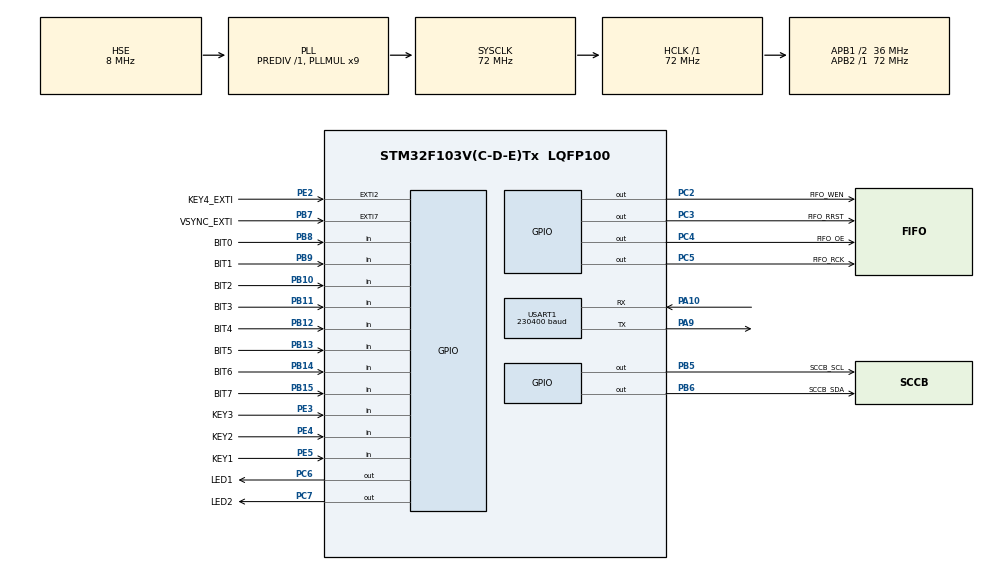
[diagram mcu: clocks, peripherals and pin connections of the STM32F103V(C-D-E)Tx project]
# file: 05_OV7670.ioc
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Mcu.Family=STM32F1
Mcu.Name=STM32F103V(C-D-E)Tx
Mcu.Package=LQFP100
NVIC.EXTI2_IRQn=true\:2\:0\:true\:false\:true\:true
NVIC.EXTI9_5_IRQn=true\:1\:0\:true\:false\:true\:true
NVIC.PriorityGroup=NVIC_PRIORITYGROUP_4
OSC_IN.Mode=HSE-External-Oscillator
OSC_IN.Signal=RCC_OSC_IN
OSC_OUT.Mode=HSE-External-Oscillator
OSC_OUT.Signal=RCC_OSC_OUT
PA10.Mode=Asynchronous
PA10.Signal=USART1_RX
PA9.Mode=Asynchronous
PA9.Signal=USART1_TX
PB10.GPIO_Label=BIT2
PB10.Signal=GPIO_Input
PB11.GPIO_Label=BIT3
PB11.Signal=GPIO_Input
PB12.GPIO_Label=BIT4
PB12.Signal=GPIO_Input
PB13.GPIO_Label=BIT5
PB13.Signal=GPIO_Input
PB14.GPIO_Label=BIT6
PB14.Signal=GPIO_Input
PB15.GPIO_Label=BIT7
PB15.Signal=GPIO_Input
PB5.GPIO_Label=SCCB_SCL
PB5.GPIO_PuPd=GPIO_PULLUP
PB5.GPIO_Speed=GPIO_SPEED_FREQ_HIGH
PB5.PinState=GPIO_PIN_SET
PB5.Signal=GPIO_Output
PB6.GPIO_Label=SCCB_SDA
PB6.GPIO_PuPd=GPIO_PULLUP
PB6.GPIO_Speed=GPIO_SPEED_FREQ_HIGH
PB6.PinState=GPIO_PIN_SET
PB6.Signal=GPIO_Output
PB7.GPIO_Label=VSYNC_EXTI
PB7.GPIO_ModeDefaultEXTI=GPIO_MODE_IT_FALLING
PB7.Signal=GPXTI7
PB8.GPIO_Label=BIT0
PB8.Signal=GPIO_Input
PB9.GPIO_Label=BIT1
PB9.Signal=GPIO_Input
PC2.GPIO_Label=FIFO_WEN
PC2.GPIO_Speed=GPIO_SPEED_FREQ_HIGH
PC2.Signal=GPIO_Output
PC3.GPIO_Label=FIFO_RRST
PC3.GPIO_Speed=GPIO_SPEED_FREQ_HIGH
PC3.Signal=GPIO_Output
PC4.GPIO_Label=FIFO_OE
PC4.GPIO_Speed=GPIO_SPEED_FREQ_HIGH
PC4.Signal=GPIO_Output
PC5.GPIO_Label=FIFO_RCK
PC5.GPIO_Speed=GPIO_SPEED_FREQ_HIGH
PC5.Signal=GPIO_Output
PC6.GPIO_Label=LED1
PC6.GPIO_Speed=GPIO_SPEED_FREQ_HIGH
PC6.Signal=GPIO_Output
PC7.GPIO_Label=LED2
PC7.GPIO_ModeDefaultOutputPP=GPIO_MODE_OUTPUT_PP
PC7.GPIO_Speed=GPIO_SPEED_FREQ_HIGH
PC7.Signal=GPIO_Output
PE2.GPIO_Label=KEY4_EXTI
PE2.GPIO_ModeDefaultEXTI=GPIO_MODE_IT_FALLING
PE2.Signal=GPXTI2
PE3.GPIO_Label=KEY3
PE3.Signal=GPIO_Input
PE4.GPIO_Label=KEY2
PE4.Signal=GPIO_Input
PE5.GPIO_Label=KEY1
PE5.Signal=GPIO_Input
ProjectManager.HeapSize=0x200
ProjectManager.StackSize=0x400
ProjectManager.TargetToolchain=SW4STM32
RCC.AHBFreq_Value=72000000
RCC.APB1CLKDivider=RCC_HCLK_DIV2
RCC.APB1Freq_Value=36000000
RCC.APB1TimFreq_Value=72000000
RCC.APB2Freq_Value=72000000
RCC.APB2TimFreq_Value=72000000
RCC.HCLKFreq_Value=72000000
RCC.PLLMUL=RCC_PLL_MUL9
RCC.PLLSourceVirtual=RCC_PLLSOURCE_HSE
RCC.SYSCLKFreq_VALUE=72000000
RCC.SYSCLKSource=RCC_SYSCLKSOURCE_PLLCLK
RCC.USBFreq_Value=72000000
USART1.BaudRate=230400
USART1.VirtualMode=VM_ASYNC
VP_SYS_VS_ND.Mode=No_Debug
board=custom

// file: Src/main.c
/* USER CODE BEGIN Header */
/**
  ******************************************************************************
  * @file           : main.c
  * @brief          : Main program body
  ******************************************************************************
  ** This notice applies to any and all portions of this file
  * that are not between comment pairs USER CODE BEGIN and
  * USER CODE END. Other portions of this file, whether
  * inserted by the user or by software development tools
  * are owned by their respective copyright owners.
  *
  * COPYRIGHT(c) 2018 STMicroelectronics
  *
  * Redistribution and use in source and binary forms, with or without modification,
  * are permitted provided that the following conditions are met:
  *   1. Redistributions of source code must retain the above copyright notice,
  *      this list of conditions and the following disclaimer.
  *   2. Redistributions in binary form must reproduce the above copyright notice,
  *      this list of conditions and the following disclaimer in the documentation
  *      and/or other materials provided with the distribution.
  *   3. Neither the name of STMicroelectronics nor the names of its contributors
  *      may be used to endorse or promote products derived from this software
  *      without specific prior written permission.
  *
  * THIS SOFTWARE IS PROVIDED BY THE COPYRIGHT HOLDERS AND CONTRIBUTORS "AS IS"
  * AND ANY EXPRESS OR IMPLIED WARRANTIES, INCLUDING, BUT NOT LIMITED TO, THE
  * IMPLIED WARRANTIES OF MERCHANTABILITY AND FITNESS FOR A PARTICULAR PURPOSE ARE
  * DISCLAIMED. IN NO EVENT SHALL THE COPYRIGHT HOLDER OR CONTRIBUTORS BE LIABLE
  * FOR ANY DIRECT, INDIRECT, INCIDENTAL, SPECIAL, EXEMPLARY, OR CONSEQUENTIAL
  * DAMAGES (INCLUDING, BUT NOT LIMITED TO, PROCUREMENT OF SUBSTITUTE GOODS OR
  * SERVICES;LOSS OF USE, DATA, OR PROFITS;OR BUSINESS INTERRUPTION) HOWEVER
  * CAUSED AND ON ANY THEORY OF LIABILITY, WHETHER IN CONTRACT, STRICT LIABILITY,
  * OR TORT (INCLUDING NEGLIGENCE OR OTHERWISE) ARISING IN ANY WAY OUT OF THE USE
  * OF THIS SOFTWARE, EVEN IF ADVISED OF THE POSSIBILITY OF SUCH DAMAGE.
  *
  ******************************************************************************
  */
/* USER CODE END Header */

#include "main.h"
#include "usart.h"
#include "gpio.h"

/* USER CODE BEGIN Includes */
#include "sensor.h"
#include "delay.h"
#include <string.h>
/* USER CODE END Includes */

/* USER CODE BEGIN PD */
//#define DEBUG
/* USER CODE END PD */

/* USER CODE BEGIN PV */
extern unsigned int Vsync;
unsigned int a, b, c_data;
char str[]="0x0000";
int i;
/* USER CODE END PV */

void SystemClock_Config(void);
/* USER CODE BEGIN PFP */

void OV7670_SendOneFrame(void)
{
  for(a=0; a<240; a++)  // 240 rows
  {
    for(b=0; b<320; b++)  // 320 columns
    {
      FIFO_RCK_L();
      asm("NOP");asm("NOP");
      c_data=GPIOB->IDR&0xff00;  // read high-8 bits of 1 byte
      FIFO_RCK_H();
      asm("NOP");asm("NOP");
      FIFO_RCK_L();
      asm("NOP");asm("NOP");
      c_data|=(GPIOB->IDR>>8)&0x00ff;  // read low-8 bits of 1 byte
      FIFO_RCK_H();
      // LCD_WriteRAM(c_data);  // write RGB565 data to TFT GRAM
      i = sprintf(str, "%x", c_data);
      HAL_UART_Transmit(&huart1, (uint8_t *)str, strlen(str), 10);
      HAL_UART_Transmit(&huart1, (uint8_t *)",", strlen(","), 10);
    }
    HAL_GPIO_TogglePin(LED2_GPIO_Port, LED2_Pin);
  }
}
/* USER CODE END PFP */

int main(void)
{

  /* MCU Configuration--------------------------------------------------------*/

  /* Reset of all peripherals, Initializes the Flash interface and the Systick. */
  HAL_Init();

  /* Configure the system clock */
  SystemClock_Config();

  /* Initialize all configured peripherals */
  MX_GPIO_Init();
  MX_USART1_UART_Init();
  /* USER CODE BEGIN 2 */
  HAL_UART_Transmit(&huart1, (uint8_t *)"CMOS ", strlen("CMOS "), 10);
  HAL_UART_Transmit(&huart1, (uint8_t *)"Sensor ", strlen("Sensor "), 10);
  HAL_UART_Transmit(&huart1, (uint8_t *)"Init...", strlen("Init..."), 10);

  FIFO_OE_L();
  FIFO_WEN_H();

  while(1!=Sensor_init()){}  // Init CMOS Sensor
  HAL_UART_Transmit(&huart1, (uint8_t *)"Init OK", strlen("Init OK"), 10);
  Vsync=0;
  ////////////////////////////////////////
  FIFO_RRST_L();
  FIFO_RCK_L();
  FIFO_RCK_H();
  FIFO_RCK_L();
  FIFO_RRST_H();
  FIFO_RCK_H();
  Delay(50);
  ////////////////////////////////////////
  /* USER CODE END 2 */

  /* Infinite loop */
  while (1)
  {
    /* USER CODE BEGIN 3 */
    if(!HAL_GPIO_ReadPin(GPIOE, KEY1_Pin))  // 0
    {
      HAL_Delay(10);
      if(HAL_GPIO_ReadPin(GPIOE, KEY1_Pin))  // 1
      {
	#ifdef DEBUG
	  OV7670_SendOneFrame_ColorBar();
	  HAL_UART_Transmit(&huart1, (uint8_t *)"\r", strlen("\r"), 10);
	#else
	  if(Vsync==2)
	  {
	    FIFO_RRST_L();
	    FIFO_RCK_L();
	    FIFO_RCK_H();
	    FIFO_RCK_L();
	    FIFO_RRST_H();
	    FIFO_RCK_H();

	    OV7670_SendOneFrame();
	    HAL_UART_Transmit(&huart1, (uint8_t *)"\r", strlen("\r"), 10);
	    Vsync=0;
          }
	#endif
      }
    }
  }
  /* USER CODE END 3 */
}

void SystemClock_Config(void)
{
  RCC_OscInitTypeDef RCC_OscInitStruct = {0};
  RCC_ClkInitTypeDef RCC_ClkInitStruct = {0};

  /**Initializes the CPU, AHB and APB busses clocks
  */
  RCC_OscInitStruct.OscillatorType = RCC_OSCILLATORTYPE_HSE;
  RCC_OscInitStruct.HSEState = RCC_HSE_ON;
  RCC_OscInitStruct.HSEPredivValue = RCC_HSE_PREDIV_DIV1;
  RCC_OscInitStruct.HSIState = RCC_HSI_ON;
  RCC_OscInitStruct.PLL.PLLState = RCC_PLL_ON;
  RCC_OscInitStruct.PLL.PLLSource = RCC_PLLSOURCE_HSE;
  RCC_OscInitStruct.PLL.PLLMUL = RCC_PLL_MUL9;
  if (HAL_RCC_OscConfig(&RCC_OscInitStruct) != HAL_OK)
  {
    Error_Handler();
  }
  /**Initializes the CPU, AHB and APB busses clocks
  */
  RCC_ClkInitStruct.ClockType = RCC_CLOCKTYPE_HCLK|RCC_CLOCKTYPE_SYSCLK
                              |RCC_CLOCKTYPE_PCLK1|RCC_CLOCKTYPE_PCLK2;
  RCC_ClkInitStruct.SYSCLKSource = RCC_SYSCLKSOURCE_PLLCLK;
  RCC_ClkInitStruct.AHBCLKDivider = RCC_SYSCLK_DIV1;
  RCC_ClkInitStruct.APB1CLKDivider = RCC_HCLK_DIV2;
  RCC_ClkInitStruct.APB2CLKDivider = RCC_HCLK_DIV1;

  if (HAL_RCC_ClockConfig(&RCC_ClkInitStruct, FLASH_LATENCY_2) != HAL_OK)
  {
    Error_Handler();
  }
}

/* USER CODE BEGIN 4 */
void HAL_GPIO_EXTI_Callback(uint16_t GPIO_Pin)
{
  /*VSYNC EXTI line: 7*/
  if(__HAL_GPIO_EXTI_GET_FLAG(VSYNC_EXTI_Pin))
  {
    if(Vsync==0)
    {
      Vsync=1;
      FIFO_WEN_H();
    }
    else if(Vsync==1)
    {
      FIFO_WEN_L();
      Vsync=2;
      HAL_GPIO_TogglePin(LED1_GPIO_Port, LED1_Pin);
    }

  }
  /*KEY1 EXTI line: 5*/
  if(__HAL_GPIO_EXTI_GET_FLAG(KEY4_EXTI_Pin))
  {
    HAL_Delay(10);
    if(HAL_GPIO_ReadPin(KEY4_EXTI_GPIO_Port, KEY4_EXTI_Pin) == 0)  // if KEY1 is still PRESSED DOWN
    {
      HAL_UART_Transmit(&huart1, (uint8_t *)"KEY4\t", strlen("KEY4\t"), 10);
      /* 翻转LED0 */
      HAL_GPIO_TogglePin(LED2_GPIO_Port, LED2_Pin);
    }
  }
}
/* USER CODE END 4 */

void Error_Handler(void)
{
}

/************************ (C) COPYRIGHT STMicroelectronics *****END OF FILE****/
